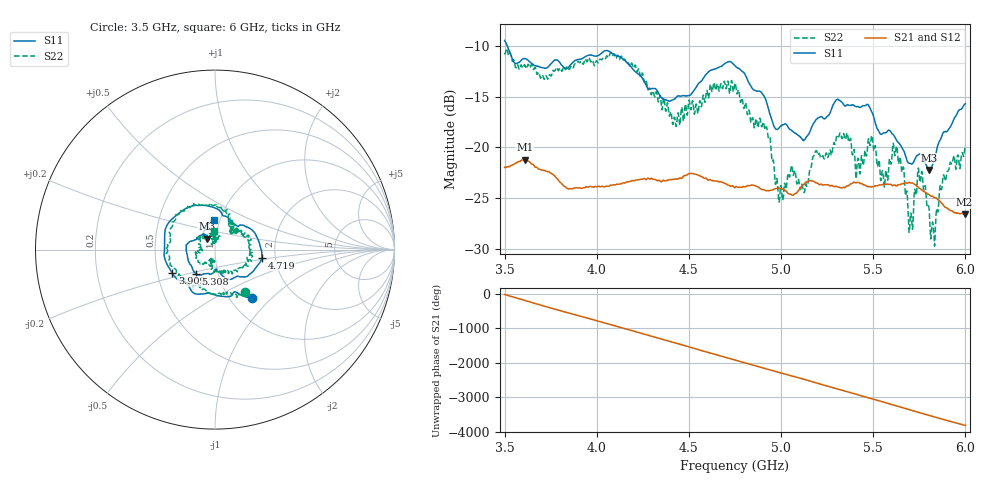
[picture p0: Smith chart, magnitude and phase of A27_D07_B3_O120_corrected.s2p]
! Created with skrf 1.9.0 (http://scikit-rf.org).
# Hz S RI R 50.0
!freq ReS11 ImS11 ReS21 ImS21 ReS12 ImS12 ReS22 ImS22
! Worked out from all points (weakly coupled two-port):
!   1601 points, 3.5 GHz to 6 GHz, reference 50 ohm
!   highest |S21| = -21.23 dB at 3.609 GHz (marker M1); lowest = -26.6 dB at 5.995 GHz (marker M2)
!   lowest |S11| = -22.3 dB at 5.805 GHz (marker M3), VSWR 1.17, Z = 45.3 + j5.63 ohm
!   |S11| at or under -10 dB: 3.514 GHz to end of sweep
!   |S22| runs from -29.8 to -10.3 dB; largest |S21 - S12| = 0.001
!   S11 on the Smith chart (normalised r, x): 3.5 GHz: 1.26, -0.76; 3.909 GHz: 0.60, -0.17; 4.719 GHz: 1.70, -0.16; 5.308 GHz: 0.78, -0.22; 6 GHz: 0.93, +0.31
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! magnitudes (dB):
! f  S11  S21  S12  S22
! 3.5 GHz  -9.5  -22.0  -22.0  -10.7
! 3.609 GHz  -11.2  -21.2  -21.2  -11.9
! 3.909 GHz  -11.3  -24.0  -24.0  -11.6
! 3.917 GHz  -11.3  -24.0  -24.0  -11.5
! 4.141 GHz  -11.2  -23.5  -23.5  -11.3
! 4.334 GHz  -14.6  -23.3  -23.2  -15.5
! 4.422 GHz  -15.2  -23.2  -23.1  -17.0
! 4.719 GHz  -11.5  -23.8  -23.8  -14.5
! 4.75 GHz  -12.0  -24.0  -23.9  -13.7
! 4.914 GHz  -15.2  -24.3  -24.2  -18.3
! 4.998 GHz  -17.9  -24.1  -24.1  -23.8
! 5.167 GHz  -18.0  -23.3  -23.3  -21.5
! 5.308 GHz  -15.3  -23.9  -23.9  -18.8
! 5.584 GHz  -18.3  -23.7  -23.6  -21.9
! 5.636 GHz  -19.5  -23.7  -23.6  -21.5
! 5.703 GHz  -21.6  -23.5  -23.5  -26.5
! 5.755 GHz  -20.7  -24.1  -24.1  -23.5
! 5.805 GHz  -22.3  -24.7  -24.7  -26.5
! 5.823 GHz  -21.7  -24.9  -24.8  -27.5
! 5.873 GHz  -18.8  -25.6  -25.5  -23.9
! 5.995 GHz  -15.8  -26.6  -26.5  -20.3
! 6 GHz  -15.7  -26.6  -26.6  -19.8
